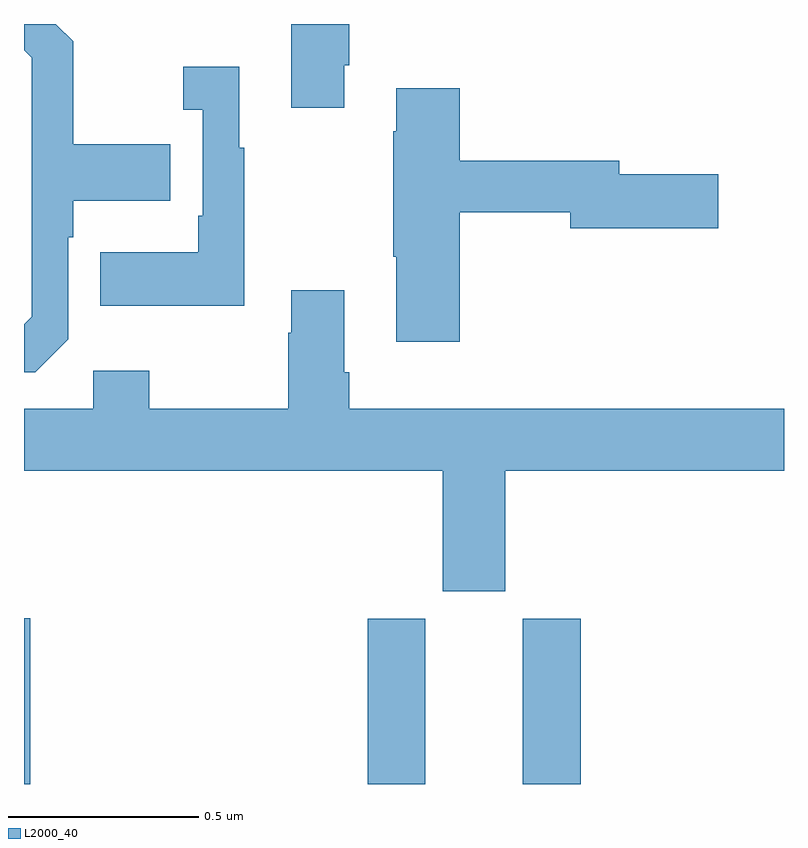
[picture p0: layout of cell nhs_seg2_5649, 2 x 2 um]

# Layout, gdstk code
import gdstk
lib = gdstk.Library(unit=1e-6, precision=1e-09)
def R(c, l, rs):  # rectangles x0, y0, x1, y1
    for r in rs: c.add(gdstk.rectangle(r[:2], r[2:], *l))
def P(c, l, *ps):  # polygons
    for p in ps: c.add(gdstk.Polygon(p, *l))
L2000_40 = (2000, 40)

nhs_seg2_5649 = lib.new_cell('nhs_seg2_5649')
R(nhs_seg2_5649, L2000_40, [(181,658.8,181.016,659.236), (181.904,658.8,182.056,659.235), (182.312,658.8,182.465,659.235)])
P(nhs_seg2_5649, L2000_40, [(181.843,660.691),(181.856,660.691),(181.856,660.8),(181.703,660.8),(181.703,660.579),(181.843,660.579)],
  [(181.116,659.97),(181.116,660.239),(181.129,660.239),(181.129,660.335),(181.385,660.335),(181.385,660.483),(181.129,660.483),(181.129,660.755),(181.084,660.8),(181,660.8),(181,660.731),(181.02,660.711),(181.02,660.03),(181,660.01),(181,659.883),(181.029,659.883)],
  [(181.579,660.475),(181.567,660.475),(181.567,660.688),(181.419,660.688),(181.419,660.575),(181.47,660.575),(181.47,660.295),(181.458,660.295),(181.458,660.199),(181.201,660.199),(181.201,660.059),(181.579,660.059)],
  [(182.147,660.304),(182.438,660.304),(182.438,660.262),(182.827,660.262),(182.827,660.404),(182.566,660.404),(182.566,660.44),(182.147,660.44),(182.147,660.631),(181.979,660.631),(181.979,660.518),(181.972,660.518),(181.972,660.187),(181.979,660.187),(181.979,659.964),(182.147,659.964)],
  [(182.266,659.624),(183,659.624),(183,659.788),(181.856,659.788),(181.856,659.884),(181.843,659.884),(181.843,660.1),(181.703,660.1),(181.703,659.987),(181.696,659.987),(181.696,659.788),(181.329,659.788),(181.329,659.887),(181.182,659.887),(181.182,659.788),(181,659.788),(181,659.624),(182.102,659.624),(182.102,659.307),(182.266,659.307)])

lib.write_gds('nhs_seg2_5649.gds')
